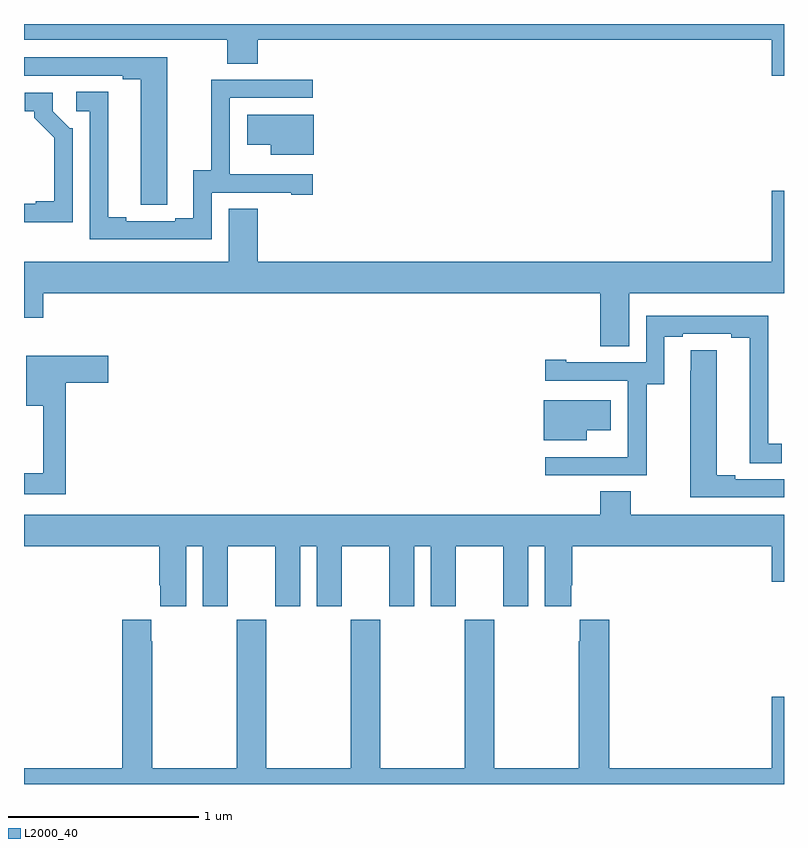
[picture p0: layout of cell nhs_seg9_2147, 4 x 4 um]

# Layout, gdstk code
import gdstk
lib = gdstk.Library(unit=1e-6, precision=1e-09)
def P(c, l, *ps):  # polygons
    for p in ps: c.add(gdstk.Polygon(p, *l))
L2000_40 = (2000, 40)

nhs_seg9_2147 = lib.new_cell('nhs_seg9_2147')
P(nhs_seg9_2147, L2000_40, [(237,1200.5),(233,1200.5),(233,1200.416),(234.07,1200.416),(234.07,1200.292),(234.23,1200.292),(234.23,1200.416),(236.936,1200.416),(236.936,1200.228),(237,1200.228)],
  [(233.754,1199.656),(233.755,1199.656),(233.755,1200.324),(233,1200.324),(233,1200.228),(233.519,1200.228),(233.519,1200.208),(233.615,1200.208),(233.615,1199.548),(233.754,1199.548)],
  [(233.988,1199.613),(234.407,1199.613),(234.407,1199.601),(234.52,1199.601),(234.52,1199.709),(234.086,1199.709),(234.086,1199.71),(234.084,1199.71),(234.084,1200.111),(234.52,1200.111),(234.52,1200.207),(233.986,1200.207),(233.986,1199.729),(233.891,1199.729),(233.891,1199.478),(233.795,1199.478),(233.795,1199.463),(233.539,1199.463),(233.539,1199.483),(233.443,1199.483),(233.443,1200.143),(233.274,1200.143),(233.274,1200.042),(233.346,1200.042),(233.346,1199.367),(233.988,1199.367)],
  [(233.256,1199.952),(233.241,1199.952),(233.151,1200.042),(233.151,1200.138),(233.004,1200.138),(233.004,1200.042),(233.054,1200.042),(233.054,1200.007),(233.159,1199.902),(233.159,1199.566),(233.063,1199.566),(233.063,1199.553),(233,1199.553),(233,1199.456),(233.256,1199.456)],
  [(234.526,1200.022),(234.174,1200.022),(234.174,1199.864),(234.299,1199.864),(234.299,1199.813),(234.526,1199.813)],
  [(236.185,1199.084),(237,1199.084),(237,1199.623),(236.936,1199.623),(236.936,1199.248),(234.23,1199.248),(234.23,1199.528),(234.077,1199.528),(234.077,1199.248),(233,1199.248),(233,1198.953),(233.102,1198.953),(233.102,1199.084),(236.033,1199.084),(236.033,1198.804),(236.185,1198.804)],
  [(236.277,1198.603),(236.371,1198.603),(236.371,1198.854),(236.467,1198.854),(236.467,1198.869),(236.723,1198.869),(236.723,1198.849),(236.819,1198.849),(236.819,1198.189),(236.989,1198.189),(236.989,1198.29),(236.916,1198.29),(236.916,1198.965),(236.274,1198.965),(236.274,1198.719),(235.855,1198.719),(235.855,1198.732),(235.743,1198.732),(235.743,1198.623),(236.178,1198.623),(236.178,1198.222),(236.177,1198.222),(236.177,1198.221),(235.743,1198.221),(235.743,1198.125),(236.277,1198.125)],
  [(237,1198.104),(236.743,1198.104),(236.743,1198.124),(236.647,1198.124),(236.647,1198.784),(236.508,1198.784),(236.508,1198.676),(236.507,1198.676),(236.507,1198.008),(237,1198.008)],
  [(233.219,1198.613),(233.443,1198.613),(233.443,1198.755),(233.012,1198.755),(233.012,1198.49),(233.102,1198.49),(233.102,1198.135),(233,1198.135),(233,1198.026),(233.219,1198.026)],
  [(235.963,1198.361),(236.089,1198.361),(236.089,1198.519),(235.736,1198.519),(235.736,1198.31),(235.963,1198.31)],
  [(233.854,1197.752),(233.942,1197.752),(233.942,1197.435),(234.073,1197.435),(234.073,1197.752),(234.323,1197.752),(234.323,1197.435),(234.454,1197.435),(234.454,1197.752),(234.542,1197.752),(234.542,1197.435),(234.673,1197.435),(234.673,1197.752),(234.923,1197.752),(234.923,1197.435),(235.054,1197.435),(235.054,1197.752),(235.142,1197.752),(235.142,1197.435),(235.273,1197.435),(235.273,1197.752),(235.523,1197.752),(235.523,1197.435),(235.654,1197.435),(235.654,1197.752),(235.742,1197.752),(235.742,1197.435),(235.879,1197.435),(235.879,1197.547),(235.886,1197.547),(235.886,1197.752),(236.936,1197.752),(236.936,1197.564),(237,1197.564),(237,1197.916),(236.193,1197.916),(236.193,1198.04),(236.033,1198.04),(236.033,1197.916),(233,1197.916),(233,1197.752),(233.711,1197.752),(233.711,1197.547),(233.717,1197.547),(233.717,1197.435),(233.854,1197.435)],
  [(237,1196.959),(236.936,1196.959),(236.936,1196.584),(236.081,1196.584),(236.081,1197.364),(235.925,1197.364),(235.925,1197.251),(235.921,1197.251),(235.921,1196.584),(235.476,1196.584),(235.476,1197.364),(235.321,1197.364),(235.321,1196.584),(234.876,1196.584),(234.876,1197.364),(234.721,1197.364),(234.721,1196.584),(234.276,1196.584),(234.276,1197.364),(234.121,1197.364),(234.121,1196.584),(233.676,1196.584),(233.676,1197.251),(233.671,1197.251),(233.671,1197.364),(233.516,1197.364),(233.516,1196.584),(233,1196.584),(233,1196.5),(237,1196.5)])

lib.write_gds('nhs_seg9_2147.gds')
